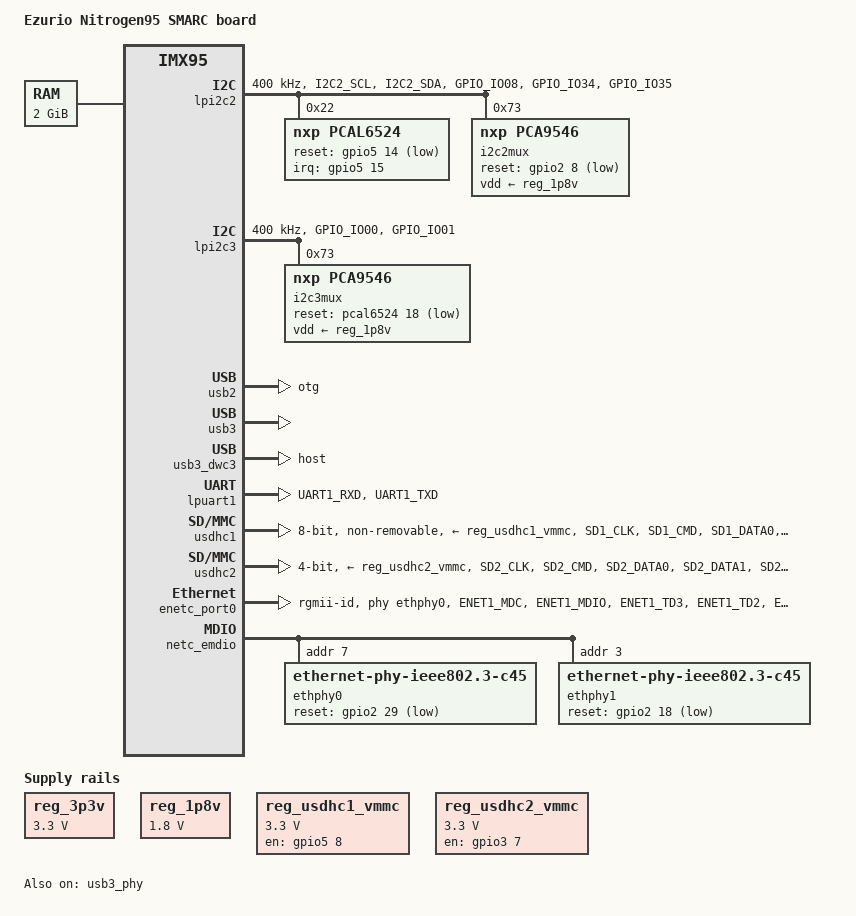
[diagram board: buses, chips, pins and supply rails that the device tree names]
// SPDX-License-Identifier: (GPL-2.0+ OR MIT)
/*
 * Copyright 2024 Ezurio LLC
 */

/dts-v1/;

#include <dt-bindings/phy/phy-imx8-pcie.h>
#include <dt-bindings/usb/pd.h>
#include "imx95.dtsi"

/ {
	model = "Ezurio Nitrogen95 SMARC board";
	compatible = "fsl,imx95-nitrogen-smarc", "fsl,imx95";

	aliases {
		ethernet0 = &enetc_port0;
		ethernet1 = &enetc_port1;
	};

	chosen {
		bootargs = "console=ttyLP0,115200 earlycon";
		stdout-path = &lpuart1;
	};

	memory@80000000 {
		device_type = "memory";
		reg = <0x0 0x80000000 0 0x80000000>;
	};


	reg_3p3v: regulator-3p3v {
		compatible = "regulator-fixed";
		regulator-max-microvolt = <3300000>;
		regulator-min-microvolt = <3300000>;
		regulator-name = "+V3.3_SW";
	};

	reg_1p8v: regulator-1p8v {
		compatible = "regulator-fixed";
		regulator-min-microvolt = <1800000>;
		regulator-max-microvolt = <1800000>;
		regulator-name = "+V1.8_SW";
	};

	reg_usdhc1_vmmc: regulator-usdhc1 {
		compatible = "regulator-fixed";
		pinctrl-names = "default";
		pinctrl-0 = <&pinctrl_reg_usdhc1_vmmc>;
		regulator-name = "SD1_RST";
		regulator-min-microvolt = <3300000>;
		regulator-max-microvolt = <3300000>;
		gpio = <&gpio5 8 GPIO_ACTIVE_HIGH>;
		off-on-delay-us = <10000>;
		enable-active-high;
	};

	reg_usdhc2_vmmc: regulator-usdhc2 {
		compatible = "regulator-fixed";
		pinctrl-names = "default";
		pinctrl-0 = <&pinctrl_reg_usdhc2_vmmc>;
		regulator-name = "SD2_RST";
		regulator-min-microvolt = <3300000>;
		regulator-max-microvolt = <3300000>;
		gpio = <&gpio3 7 GPIO_ACTIVE_HIGH>;
		off-on-delay-us = <12000>;
		enable-active-high;
	};
};

&lpi2c2 { /* SMARC I2C_LCD */
	#address-cells = <1>;
	#size-cells = <0>;
	clock-frequency = <400000>;
	pinctrl-names = "default", "sleep";
	pinctrl-0 = <&pinctrl_lpi2c2>;
	pinctrl-1 = <&pinctrl_lpi2c2>;
	status = "okay";

	pcal6524: gpio@22 {
		compatible = "nxp,pcal6524";
		reg = <0x22>;
		gpio-controller;
		#gpio-cells = <2>;
		interrupt-controller;
		#interrupt-cells = <2>;
		interrupts-extended = <&gpio5 15 IRQ_TYPE_LEVEL_LOW>;
		reset-gpios = <&gpio5 14 GPIO_ACTIVE_LOW>;
	};

	i2c2mux@73 { /* On SMARC carrier */
		pinctrl-names = "default";
		compatible = "nxp,pca9546";
		reg = <0x73>;
		vdd-supply = <&reg_1p8v>;
		reset-gpios = <&gpio2 8 GPIO_ACTIVE_LOW>;
		#address-cells = <1>;
		#size-cells = <0>;

		i2c_lcd_exp1: i2c2mux@0 {
			clock-frequency = <100000>;
			reg = <0>;
			#address-cells = <1>;
			#size-cells = <0>;
		};

		i2c_lcd_exp2: i2c2mux@1 {
			clock-frequency = <100000>;
			reg = <1>;
			#address-cells = <1>;
			#size-cells = <0>;
		};

		i2c_lcd_dsi0: i2c2mux@2 {
			clock-frequency = <100000>;
			reg = <2>;
			#address-cells = <1>;
			#size-cells = <0>;
		};

		i2c_lcd_dsi1: i2c2mux@3 {
			clock-frequency = <100000>;
			reg = <3>;
			#address-cells = <1>;
			#size-cells = <0>;
		};
	};
};

&lpi2c3 {
	#address-cells = <1>;
	#size-cells = <0>;
	clock-frequency = <400000>;
	pinctrl-names = "default", "sleep";
	pinctrl-0 = <&pinctrl_lpi2c3>;
	pinctrl-1 = <&pinctrl_lpi2c3>;
	status = "okay";

	i2c3mux@73 {
		pinctrl-names = "default";
		compatible = "nxp,pca9546";
		reg = <0x73>;
		vdd-supply = <&reg_1p8v>;
		reset-gpios = <&pcal6524 18 GPIO_ACTIVE_LOW>;
		#address-cells = <1>;
		#size-cells = <0>;

		i2c_csi0: i2c3mux@0 {
			clock-frequency = <100000>;
			reg = <0>;
			#address-cells = <1>;
			#size-cells = <0>;
		};

		i2c_csi1: i2c3mux@1 {
			clock-frequency = <100000>;
			reg = <1>;
			#address-cells = <1>;
			#size-cells = <0>;
		};

		i2c_gp: i2c3mux@2 {
			clock-frequency = <100000>;
			reg = <2>;
			#address-cells = <1>;
			#size-cells = <0>;
		};

		i2c_pmic: i2c3mux@3 {
			clock-frequency = <100000>;
			reg = <3>;
			#address-cells = <1>;
			#size-cells = <0>;
		};
	};
};

&usb2 {
	dr_mode = "otg";
	hnp-disable;
	srp-disable;
	adp-disable;
	disable-over-current;
	status = "okay";
};

&usb3 {
	status = "okay";
};

&usb3_phy {
	status = "okay";
};

&usb3_dwc3 {
	dr_mode = "host";
	hnp-disable;
	srp-disable;
	adp-disable;
	snps,dis-u1-entry-quirk;
	snps,dis-u2-entry-quirk;
	status = "okay";
};

&lpuart1 {
	/* console */
	pinctrl-names = "default";
	pinctrl-0 = <&pinctrl_uart1>;
	status = "okay";
};

&usdhc1 {
	pinctrl-names = "default", "state_100mhz", "state_200mhz";
	pinctrl-0 = <&pinctrl_usdhc1>;
	pinctrl-1 = <&pinctrl_usdhc1_100mhz>;
	pinctrl-2 = <&pinctrl_usdhc1_200mhz>;
	bus-width = <8>;
	non-removable;
	no-sdio;
	no-sd;
	vmmc-supply = <&reg_usdhc1_vmmc>;
	status = "okay";
};

&usdhc2 {
	pinctrl-names = "default", "state_100mhz", "state_200mhz";
	pinctrl-0 = <&pinctrl_usdhc2>, <&pinctrl_usdhc2_gpio>;
	pinctrl-1 = <&pinctrl_usdhc2_100mhz>, <&pinctrl_usdhc2_gpio>;
	pinctrl-2 = <&pinctrl_usdhc2_200mhz>, <&pinctrl_usdhc2_gpio>;
	cd-gpios = <&gpio3 00 GPIO_ACTIVE_LOW>;
	vmmc-supply = <&reg_usdhc2_vmmc>;
	bus-width = <4>;
	status = "okay";
};

&enetc_port0 {
	pinctrl-names = "default";
	pinctrl-0 = <&pinctrl_enetc0>;
	phy-handle = <&ethphy0>;
	phy-mode = "rgmii-id";
	status = "okay";
};

&enetc_port1 {
	pinctrl-names = "default";
	pinctrl-0 = <&pinctrl_enetc1>;
	phy-handle = <&ethphy1>;
	phy-mode = "rgmii-id";
	status = "disabled";
};

&netc_emdio {
	ethphy0: ethernet-phy@7 {
		compatible = "ethernet-phy-ieee802.3-c45";
		reg = <7>;
		reset-gpios = <&gpio2 29 GPIO_ACTIVE_LOW>;
		reset-assert-us = <10000>;
		reset-deassert-us = <80000>;
	};

	ethphy1: ethernet-phy@3 {
		compatible = "ethernet-phy-ieee802.3-c45";
		reg = <3>;
		reset-gpios = <&gpio2 18 GPIO_ACTIVE_LOW>;
		reset-assert-us = <10000>;
		reset-deassert-us = <80000>;
	};
};

&scmi_iomuxc {
	pinctrl_flexcan1: flexcan1grp {
		fsl,pins = <
			IMX95_PAD_PDM_CLK__AONMIX_TOP_CAN1_TX		0x39e
			IMX95_PAD_PDM_BIT_STREAM0__AONMIX_TOP_CAN1_RX	0x39e
		>;
	};

	pinctrl_flexcan2: flexcan2grp {
		fsl,pins = <
			IMX95_PAD_GPIO_IO25__CAN2_TX			0x39e
			IMX95_PAD_GPIO_IO27__CAN2_RX			0x39e
		>;
	};

	pinctrl_lpi2c2: lpi2c2grp {
		fsl,pins = <
			IMX95_PAD_I2C2_SCL__AONMIX_TOP_LPI2C2_SCL	0x40000b9e
			IMX95_PAD_I2C2_SDA__AONMIX_TOP_LPI2C2_SDA	0x40000b9e
			IMX95_PAD_GPIO_IO08__GPIO2_IO_BIT8		0x31e
			IMX95_PAD_GPIO_IO34__GPIO5_IO_BIT14		0x31e
			IMX95_PAD_GPIO_IO35__GPIO5_IO_BIT15		0x31e
		>;
	};

	pinctrl_lpi2c3: lpi2c3grp {
		fsl,pins = <
			IMX95_PAD_GPIO_IO00__LPI2C3_SDA			0x40000b9e
			IMX95_PAD_GPIO_IO01__LPI2C3_SCL			0x40000b9e
		>;
	};

	pinctrl_uart1: uart1grp {
		fsl,pins = <
			IMX95_PAD_UART1_RXD__AONMIX_TOP_LPUART1_RX      0x31e
			IMX95_PAD_UART1_TXD__AONMIX_TOP_LPUART1_TX      0x31e
		>;
	};

	pinctrl_enetc0: enetc0grp {
		fsl,pins = <
			IMX95_PAD_ENET1_MDC__NETCMIX_TOP_NETC_MDC		0x57e
			IMX95_PAD_ENET1_MDIO__NETCMIX_TOP_NETC_MDIO		0x57e
			IMX95_PAD_ENET1_TD3__NETCMIX_TOP_ETH0_RGMII_TD3		0x57e
			IMX95_PAD_ENET1_TD2__NETCMIX_TOP_ETH0_RGMII_TD2		0x57e
			IMX95_PAD_ENET1_TD1__NETCMIX_TOP_ETH0_RGMII_TD1		0x57e
			IMX95_PAD_ENET1_TD0__NETCMIX_TOP_ETH0_RGMII_TD0		0x57e
			IMX95_PAD_ENET1_TX_CTL__NETCMIX_TOP_ETH0_RGMII_TX_CTL	0x57e
			IMX95_PAD_ENET1_TXC__NETCMIX_TOP_ETH0_RGMII_TX_CLK	0x5fe
			IMX95_PAD_ENET1_RX_CTL__NETCMIX_TOP_ETH0_RGMII_RX_CTL	0x57e
			IMX95_PAD_ENET1_RXC__NETCMIX_TOP_ETH0_RGMII_RX_CLK	0x5fe
			IMX95_PAD_ENET1_RD0__NETCMIX_TOP_ETH0_RGMII_RD0		0x57e
			IMX95_PAD_ENET1_RD1__NETCMIX_TOP_ETH0_RGMII_RD1		0x57e
			IMX95_PAD_ENET1_RD2__NETCMIX_TOP_ETH0_RGMII_RD2		0x57e
			IMX95_PAD_ENET1_RD3__NETCMIX_TOP_ETH0_RGMII_RD3		0x57e
			IMX95_PAD_GPIO_IO29__GPIO2_IO_BIT29			0x31e
			IMX95_PAD_CCM_CLKO3__GPIO4_IO_BIT28			0x31e
		>;
	};

	pinctrl_enetc1: enetc1grp {
		fsl,pins = <
			IMX95_PAD_ENET2_TD3__NETCMIX_TOP_ETH1_RGMII_TD3		0x57e
			IMX95_PAD_ENET2_TD2__NETCMIX_TOP_ETH1_RGMII_TD2		0x57e
			IMX95_PAD_ENET2_TD1__NETCMIX_TOP_ETH1_RGMII_TD1		0x57e
			IMX95_PAD_ENET2_TD0__NETCMIX_TOP_ETH1_RGMII_TD0		0x57e
			IMX95_PAD_ENET2_TX_CTL__NETCMIX_TOP_ETH1_RGMII_TX_CTL	0x57e
			IMX95_PAD_ENET2_TXC__NETCMIX_TOP_ETH1_RGMII_TX_CLK	0x5fe
			IMX95_PAD_ENET2_RX_CTL__NETCMIX_TOP_ETH1_RGMII_RX_CTL	0x57e
			IMX95_PAD_ENET2_RXC__NETCMIX_TOP_ETH1_RGMII_RX_CLK	0x5fe
			IMX95_PAD_ENET2_RD0__NETCMIX_TOP_ETH1_RGMII_RD0		0x57e
			IMX95_PAD_ENET2_RD1__NETCMIX_TOP_ETH1_RGMII_RD1		0x57e
			IMX95_PAD_ENET2_RD2__NETCMIX_TOP_ETH1_RGMII_RD2		0x57e
			IMX95_PAD_ENET2_RD3__NETCMIX_TOP_ETH1_RGMII_RD3		0x57e
			IMX95_PAD_GPIO_IO18__GPIO2_IO_BIT18			0x31e
			IMX95_PAD_CCM_CLKO2__GPIO3_IO_BIT27			0x31e
		>;
	};

	pinctrl_usdhc1: usdhc1grp {
		fsl,pins = <
			IMX95_PAD_SD1_CLK__USDHC1_CLK				0x158e
			IMX95_PAD_SD1_CMD__USDHC1_CMD				0x138e
			IMX95_PAD_SD1_DATA0__USDHC1_DATA0			0x138e
			IMX95_PAD_SD1_DATA1__USDHC1_DATA1			0x138e
			IMX95_PAD_SD1_DATA2__USDHC1_DATA2			0x138e
			IMX95_PAD_SD1_DATA3__USDHC1_DATA3			0x138e
			IMX95_PAD_SD1_DATA4__USDHC1_DATA4			0x138e
			IMX95_PAD_SD1_DATA5__USDHC1_DATA5			0x138e
			IMX95_PAD_SD1_DATA6__USDHC1_DATA6			0x138e
			IMX95_PAD_SD1_DATA7__USDHC1_DATA7			0x138e
			IMX95_PAD_SD1_STROBE__USDHC1_STROBE			0x158e
		>;
	};

	pinctrl_usdhc1_100mhz: usdhc1-100mhzgrp {
		fsl,pins = <
			IMX95_PAD_SD1_CLK__USDHC1_CLK				0x158e
			IMX95_PAD_SD1_CMD__USDHC1_CMD				0x138e
			IMX95_PAD_SD1_DATA0__USDHC1_DATA0			0x138e
			IMX95_PAD_SD1_DATA1__USDHC1_DATA1			0x138e
			IMX95_PAD_SD1_DATA2__USDHC1_DATA2			0x138e
			IMX95_PAD_SD1_DATA3__USDHC1_DATA3			0x138e
			IMX95_PAD_SD1_DATA4__USDHC1_DATA4			0x138e
			IMX95_PAD_SD1_DATA5__USDHC1_DATA5			0x138e
			IMX95_PAD_SD1_DATA6__USDHC1_DATA6			0x138e
			IMX95_PAD_SD1_DATA7__USDHC1_DATA7			0x138e
			IMX95_PAD_SD1_STROBE__USDHC1_STROBE			0x158e
		>;
	};

	pinctrl_usdhc1_200mhz: usdhc1-200mhzgrp {
		fsl,pins = <
			IMX95_PAD_SD1_CLK__USDHC1_CLK				0x15fe
			IMX95_PAD_SD1_CMD__USDHC1_CMD				0x13fe
			IMX95_PAD_SD1_DATA0__USDHC1_DATA0			0x13fe
			IMX95_PAD_SD1_DATA1__USDHC1_DATA1			0x13fe
			IMX95_PAD_SD1_DATA2__USDHC1_DATA2			0x13fe
			IMX95_PAD_SD1_DATA3__USDHC1_DATA3			0x13fe
			IMX95_PAD_SD1_DATA4__USDHC1_DATA4			0x13fe
			IMX95_PAD_SD1_DATA5__USDHC1_DATA5			0x13fe
			IMX95_PAD_SD1_DATA6__USDHC1_DATA6			0x13fe
			IMX95_PAD_SD1_DATA7__USDHC1_DATA7			0x13fe
			IMX95_PAD_SD1_STROBE__USDHC1_STROBE			0x15fe
		>;
	};

	pinctrl_reg_usdhc1_vmmc: regusdhc1vmmcgrp {
		fsl,pins = <
			IMX95_PAD_XSPI1_DQS__GPIO5_IO_BIT8			0x31e
		>;
	};

	pinctrl_reg_usdhc2_vmmc: regusdhc2vmmcgrp {
		fsl,pins = <
			IMX95_PAD_SD2_RESET_B__GPIO3_IO_BIT7			0x31e
		>;
	};

	pinctrl_usdhc2_gpio: usdhc2gpiogrp {
		fsl,pins = <
			IMX95_PAD_SD2_CD_B__GPIO3_IO_BIT0			0x31e
		>;
	};

	pinctrl_usdhc2: usdhc2grp {
		fsl,pins = <
			IMX95_PAD_SD2_CLK__USDHC2_CLK				0x158e
			IMX95_PAD_SD2_CMD__USDHC2_CMD				0x138e
			IMX95_PAD_SD2_DATA0__USDHC2_DATA0			0x138e
			IMX95_PAD_SD2_DATA1__USDHC2_DATA1			0x138e
			IMX95_PAD_SD2_DATA2__USDHC2_DATA2			0x138e
			IMX95_PAD_SD2_DATA3__USDHC2_DATA3			0x138e
			IMX95_PAD_SD2_VSELECT__USDHC2_VSELECT			0x51e
		>;
	};

	pinctrl_usdhc2_100mhz: usdhc2-100mhzgrp {
		fsl,pins = <
			IMX95_PAD_SD2_CLK__USDHC2_CLK				0x158e
			IMX95_PAD_SD2_CMD__USDHC2_CMD				0x138e
			IMX95_PAD_SD2_DATA0__USDHC2_DATA0			0x138e
			IMX95_PAD_SD2_DATA1__USDHC2_DATA1			0x138e
			IMX95_PAD_SD2_DATA2__USDHC2_DATA2			0x138e
			IMX95_PAD_SD2_DATA3__USDHC2_DATA3			0x138e
			IMX95_PAD_SD2_VSELECT__USDHC2_VSELECT			0x51e
		>;
	};

	pinctrl_usdhc2_200mhz: usdhc2-200mhzgrp {
		fsl,pins = <
			IMX95_PAD_SD2_CLK__USDHC2_CLK				0x15fe
			IMX95_PAD_SD2_CMD__USDHC2_CMD				0x13fe
			IMX95_PAD_SD2_DATA0__USDHC2_DATA0			0x13fe
			IMX95_PAD_SD2_DATA1__USDHC2_DATA1			0x13fe
			IMX95_PAD_SD2_DATA2__USDHC2_DATA2			0x13fe
			IMX95_PAD_SD2_DATA3__USDHC2_DATA3			0x13fe
			IMX95_PAD_SD2_VSELECT__USDHC2_VSELECT			0x51e
		>;
	};
};
